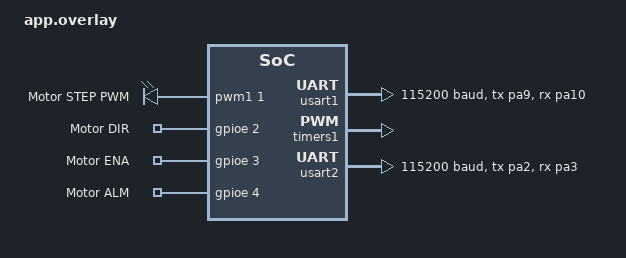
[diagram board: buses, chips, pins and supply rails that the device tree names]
/*
 * Device Tree Overlay for Agriculture Robot - STM32F407VET
 *
 * Pin mapping:
 *   PA8  -> TIM1_CH1 -> PUL (step pulse to CL57C)
 *   PE2  -> GPIO OUT -> DIR (direction)
 *   PE3  -> GPIO OUT -> ENA (enable: HIGH=enable, LOW=disable)
 *   PE4  -> GPIO IN  -> ALM (alarm from CL57C, trigger on rising edge)
 *   PA9  -> USART1_TX -> LOG TX to serial monitor
 *   PA10 -> USART1_RX -> LOG RX from serial monitor (optional)
 *   PA2  -> USART2_TX -> CMD TX to master
 *   PA3  -> USART2_RX -> CMD RX from master
 */

/ {
    /*
     * PWM consumer node for motor step pulse.
     * This gives application code a standard `pwms` property to consume via
     * PWM_DT_SPEC_GET(), while &pwm1 below remains the TIM1 PWM controller.
     */
    motor_step_pwm {
        compatible = "pwm-leds";

        motor_step: motor_step {
            pwms = <&pwm1 1 PWM_USEC(1000) PWM_POLARITY_NORMAL>;
            label = "Motor STEP PWM";
        };
    };

    /*
     * Motor control GPIO pins grouped as a single node.
     * motor_hw reads these via DT_NODELABEL.
     */
    motor_gpios {
        compatible = "gpio-keys";
        status = "okay";

        motor_dir: motor_dir {
            gpios = <&gpioe 2 GPIO_ACTIVE_HIGH>;
            label = "Motor DIR";
        };

        motor_ena: motor_ena {
            gpios = <&gpioe 3 GPIO_ACTIVE_HIGH>;
            label = "Motor ENA";
        };

        motor_alm: motor_alm {
            gpios = <&gpioe 4 (GPIO_ACTIVE_HIGH | GPIO_PULL_DOWN)>;
            label = "Motor ALM";
        };
    };

    chosen {
        zephyr,console = &usart1;
        zephyr,shell-uart = &usart1;
    };
};

/* USART1 on PA9/PA10 for Zephyr console/log output to serial monitor */
&usart1 {
    status = "okay";
    current-speed = <115200>;
    pinctrl-0 = <&usart1_tx_pa9 &usart1_rx_pa10>;
    pinctrl-names = "default";
};

/* TIM1 CH1 on PA8 - Step pulse output (PWM) */
&timers1 {
    status = "okay";
    /* Prescaler: 168MHz / (167+1) = 1MHz -> 1us resolution */
    st,prescaler = <167>;

    pwm1: pwm {
        status = "okay";
        pinctrl-0 = <&tim1_ch1_pa8>;
        pinctrl-names = "default";
        #pwm-cells = <3>;
    };
};

/* USART2 on PA2/PA3 for command protocol communication with master */
&usart2 {
    status = "okay";
    current-speed = <115200>;
    pinctrl-0 = <&usart2_tx_pa2 &usart2_rx_pa3>;
    pinctrl-names = "default";
    /* STM32F407 USART2 DMA mapping: TX=DMA1 Stream6 Channel4, RX=DMA1 Stream5 Channel4 */
    dmas = <&dma1 6 4 STM32_DMA_MEM_INC STM32_DMA_FIFO_FULL>,
           <&dma1 5 4 STM32_DMA_MEM_INC STM32_DMA_FIFO_FULL>;
    dma-names = "tx", "rx";
};

/* Enable DMA1 so STM32 UART driver can select SERIAL_SUPPORT_ASYNC. */
&dma1 {
    status = "okay";
};
